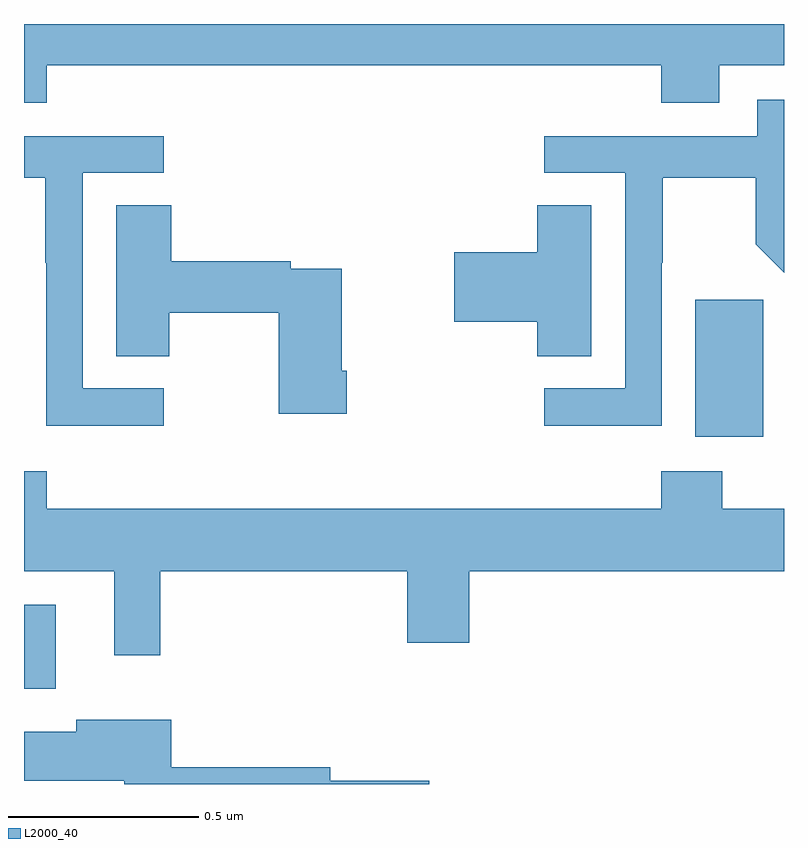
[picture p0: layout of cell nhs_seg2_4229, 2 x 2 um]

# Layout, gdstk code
import gdstk
lib = gdstk.Library(unit=1e-6, precision=1e-09)
def R(c, l, rs):  # rectangles x0, y0, x1, y1
    for r in rs: c.add(gdstk.rectangle(r[:2], r[2:], *l))
def P(c, l, *ps):  # polygons
    for p in ps: c.add(gdstk.Polygon(p, *l))
L2000_40 = (2000, 40)

nhs_seg2_4229 = lib.new_cell('nhs_seg2_4229')
R(nhs_seg2_4229, L2000_40, [(164,590.051,164.083,590.272), (165.767,590.714,165.946,591.075)])
P(nhs_seg2_4229, L2000_40, [(164.06,591.692),(165.677,591.692),(165.677,591.593),(165.829,591.593),(165.829,591.692),(166,591.692),(166,591.8),(164,591.8),(164,591.593),(164.06,591.593)],
  [(165.678,591.172),(165.681,591.172),(165.681,591.396),(165.925,591.396),(165.925,591.221),(166,591.146),(166,591.601),(165.93,591.601),(165.93,591.504),(165.369,591.504),(165.369,591.408),(165.582,591.408),(165.582,590.841),(165.369,590.841),(165.369,590.743),(165.678,590.743)],
  [(164.368,590.841),(164.154,590.841),(164.154,591.408),(164.368,591.408),(164.368,591.504),(164,591.504),(164,591.396),(164.056,591.396),(164.056,591.172),(164.058,591.172),(164.058,590.743),(164.368,590.743)],
  [(165.493,591.323),(165.35,591.323),(165.35,591.2),(165.132,591.2),(165.132,591.017),(165.35,591.017),(165.35,590.926),(165.493,590.926)],
  [(164.849,590.887),(164.836,590.887),(164.836,591.156),(164.702,591.156),(164.702,591.176),(164.387,591.176),(164.387,591.323),(164.243,591.323),(164.243,590.926),(164.382,590.926),(164.382,591.04),(164.671,591.04),(164.671,590.775),(164.849,590.775)],
  [(164.359,590.36),(165.008,590.36),(165.008,590.172),(165.172,590.172),(165.172,590.36),(166,590.36),(166,590.524),(165.837,590.524),(165.837,590.623),(165.677,590.623),(165.677,590.524),(164.06,590.524),(164.06,590.623),(164,590.623),(164,590.36),(164.237,590.36),(164.237,590.139),(164.359,590.139)],
  [(165.067,589.808),(164.806,589.808),(164.806,589.844),(164.387,589.844),(164.387,589.969),(164.138,589.969),(164.138,589.937),(164,589.937),(164,589.808),(164.264,589.808),(164.264,589.8),(165.067,589.8)])

lib.write_gds('nhs_seg2_4229.gds')
